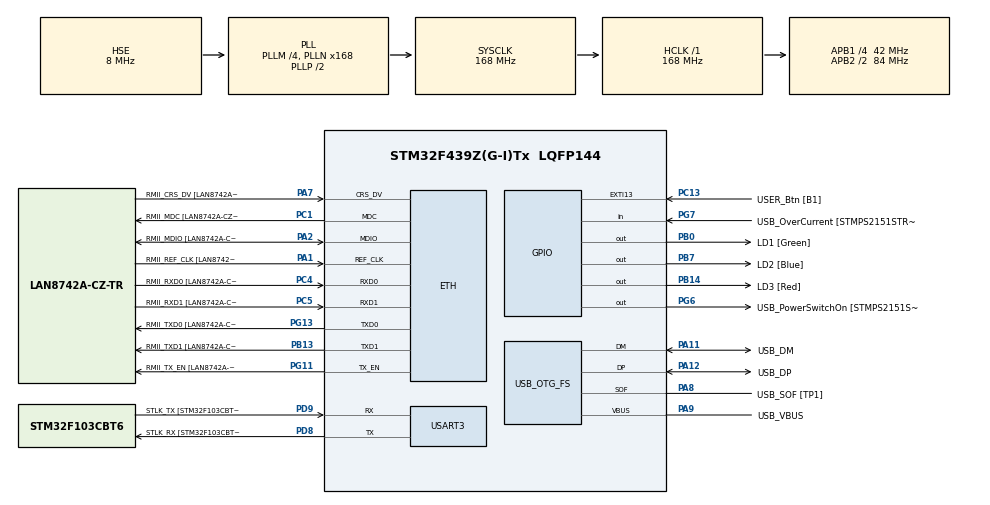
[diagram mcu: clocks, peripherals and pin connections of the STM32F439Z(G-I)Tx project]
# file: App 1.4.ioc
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ETH.MediaInterface=HAL_ETH_RMII_MODE
ETH.PHY_Name=LAN8742A_PHY_ADDRESS
ETH.PHY_Value=0
ETH.PhyAddress=0
Mcu.Family=STM32F4
Mcu.Name=STM32F439Z(G-I)Tx
Mcu.Package=LQFP144
NVIC.PriorityGroup=NVIC_PRIORITYGROUP_4
PA1.GPIO_Label=RMII_REF_CLK [LAN8742A-CZ-TR_REFCLK0]
PA1.Mode=RMII
PA1.Signal=ETH_REF_CLK
PA10.GPIO_Label=USB_ID
PA10.Signal=USB_OTG_FS_ID
PA11.GPIO_Label=USB_DM
PA11.Mode=Device_Only
PA11.Signal=USB_OTG_FS_DM
PA12.GPIO_Label=USB_DP
PA12.Mode=Device_Only
PA12.Signal=USB_OTG_FS_DP
PA13.GPIO_Label=TMS
PA13.Mode=Serial_Wire
PA13.Signal=SYS_JTMS-SWDIO
PA14.GPIO_Label=TCK
PA14.Mode=Serial_Wire
PA14.Signal=SYS_JTCK-SWCLK
PA2.GPIO_Label=RMII_MDIO [LAN8742A-CZ-TR_MDIO]
PA2.Mode=RMII
PA2.Signal=ETH_MDIO
PA7.GPIO_Label=RMII_CRS_DV [LAN8742A-CZ-TR_CRS_DV]
PA7.Mode=RMII
PA7.Signal=ETH_CRS_DV
PA8.GPIO_Label=USB_SOF [TP1]
PA8.Mode=Activate_SOF_FS
PA8.Signal=USB_OTG_FS_SOF
PA9.GPIO_Label=USB_VBUS
PA9.Mode=Activate_VBUS
PA9.Signal=USB_OTG_FS_VBUS
PB0.GPIO_Label=LD1 [Green]
PB0.Signal=GPIO_Output
PB13.GPIO_Label=RMII_TXD1 [LAN8742A-CZ-TR_TXD1]
PB13.Mode=RMII
PB13.Signal=ETH_TXD1
PB14.GPIO_Label=LD3 [Red]
PB14.Signal=GPIO_Output
PB7.GPIO_Label=LD2 [Blue]
PB7.Signal=GPIO_Output
PC1.GPIO_Label=RMII_MDC [LAN8742A-CZ-TR_MDC]
PC1.Mode=RMII
PC1.Signal=ETH_MDC
PC13.GPIO_Label=USER_Btn [B1]
PC13.Signal=GPXTI13
PC14/OSC32_IN.Mode=LSE-External-Oscillator
PC14/OSC32_IN.Signal=RCC_OSC32_IN
PC15/OSC32_OUT.Mode=LSE-External-Oscillator
PC15/OSC32_OUT.Signal=RCC_OSC32_OUT
PC4.GPIO_Label=RMII_RXD0 [LAN8742A-CZ-TR_RXD0]
PC4.Mode=RMII
PC4.Signal=ETH_RXD0
PC5.GPIO_Label=RMII_RXD1 [LAN8742A-CZ-TR_RXD1]
PC5.Mode=RMII
PC5.Signal=ETH_RXD1
PD8.GPIO_Label=STLK_RX [STM32F103CBT6_PA3]
PD8.Mode=Asynchronous
PD8.Signal=USART3_TX
PD9.GPIO_Label=STLK_TX [STM32F103CBT6_PA2]
PD9.Mode=Asynchronous
PD9.Signal=USART3_RX
PG11.GPIO_Label=RMII_TX_EN [LAN8742A-CZ-TR_TXEN]
PG11.Mode=RMII
PG11.Signal=ETH_TX_EN
PG13.GPIO_Label=RMII_TXD0 [LAN8742A-CZ-TR_TXD0]
PG13.Mode=RMII
PG13.Signal=ETH_TXD0
PG6.GPIO_Label=USB_PowerSwitchOn [STMPS2151STR_EN]
PG6.Signal=GPIO_Output
PG7.GPIO_Label=USB_OverCurrent [STMPS2151STR_FAULT]
PG7.Signal=GPIO_Input
PH0/OSC_IN.GPIO_Label=MCO [STM32F103CBT6_PA8]
PH0/OSC_IN.Mode=HSE-External-Clock-Source
PH0/OSC_IN.Signal=RCC_OSC_IN
PH1/OSC_OUT.Mode=HSE-External-Clock-Source
PH1/OSC_OUT.Signal=RCC_OSC_OUT
ProjectManager.HeapSize=0x200
ProjectManager.StackSize=0x400
ProjectManager.TargetToolchain=STM32CubeIDE
RCC.48MHZClocksFreq_Value=48000000
RCC.AHBFreq_Value=168000000
RCC.APB1CLKDivider=RCC_HCLK_DIV4
RCC.APB1Freq_Value=42000000
RCC.APB1TimFreq_Value=84000000
RCC.APB2CLKDivider=RCC_HCLK_DIV2
RCC.APB2Freq_Value=84000000
RCC.APB2TimCLKDivider=2
RCC.APB2TimFreq_Value=168000000
RCC.CortexFreq_Value=168000000
RCC.HCLKFreq_Value=168000000
RCC.HSE_VALUE=8000000
RCC.HSI_VALUE=16000000
RCC.PLLM=4
RCC.PLLMUL=RCC_PLL_MUL9
RCC.PLLN=168
RCC.PLLQ=7
RCC.PRESCALERUSB=RCC_USBCLKSOURCE_PLL_DIV1_5
RCC.SYSCLKFreq_VALUE=168000000
RCC.SYSCLKSource=RCC_SYSCLKSOURCE_PLLCLK
RCC.SYSCLKSourceVirtual=RCC_SYSCLKSOURCE_PLLCLK
RCC.USBFreq_Value=48000000
RCC.VCOOutputFreq_Value=336000000
USART3.VirtualMode=VM_ASYNC
USB_OTG_FS.VirtualMode=Device_Only
board=NUCLEO-F439ZI

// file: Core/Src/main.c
/* USER CODE BEGIN Header */
/**
  ******************************************************************************
  * @file           : main.c
  * @brief          : Main program body
  ******************************************************************************
  * @attention
  *
  * Copyright (c) 2026 STMicroelectronics.
  * All rights reserved.
  *
  * This software is licensed under terms that can be found in the LICENSE file
  * in the root directory of this software component.
  * If no LICENSE file comes with this software, it is provided AS-IS.
  *
  ******************************************************************************
  */
/* USER CODE END Header */
#include "main.h"
#include "string.h"

ETH_TxPacketConfig TxConfig;
ETH_DMADescTypeDef  DMARxDscrTab[ETH_RX_DESC_CNT]; /* Ethernet Rx DMA Descriptors */
ETH_DMADescTypeDef  DMATxDscrTab[ETH_TX_DESC_CNT]; /* Ethernet Tx DMA Descriptors */

ETH_HandleTypeDef heth;

UART_HandleTypeDef huart3;

PCD_HandleTypeDef hpcd_USB_OTG_FS;

/* USER CODE BEGIN PV */

int estado = 1;             // Guarda en qué modo de tiempo estamos (1, 2, 3 o 4)
int tiempo_parpadeo = 100;  // Tiempo actual en milisegundos (empieza en 100)

/* USER CODE END PV */

void SystemClock_Config(void);
static void MX_GPIO_Init(void);
static void MX_ETH_Init(void);
static void MX_USART3_UART_Init(void);
static void MX_USB_OTG_FS_PCD_Init(void);

int main(void)
{

  /* MCU Configuration--------------------------------------------------------*/

  /* Reset of all peripherals, Initializes the Flash interface and the Systick. */
  HAL_Init();

  /* Configure the system clock */
  SystemClock_Config();

  /* Initialize all configured peripherals */
  MX_GPIO_Init();
  MX_ETH_Init();
  MX_USART3_UART_Init();
  MX_USB_OTG_FS_PCD_Init();

  /* Infinite loop */
  /* USER CODE BEGIN WHILE */
  while (1)
  {
	      // 1. Revisamos si se presionó el botón onboard

	      if (HAL_GPIO_ReadPin(USER_Btn_GPIO_Port, USER_Btn_Pin) == GPIO_PIN_SET)
	      {
	        HAL_Delay(100); // espera para evitar el rebotador del botón

	        estado++;
	        if (estado > 4)
	        {
	          estado = 1; // Si pasa de 4, vuelve a empezar en 1
	        }

	        // Asignamos el tiempo según el estado en el que estamos
	        if (estado == 1)
	        {
	          tiempo_parpadeo = 100;
	        }
	        else if (estado == 2)
	        {
	          tiempo_parpadeo = 250;
	        }
	        else if (estado == 3)
	        {
	          tiempo_parpadeo = 500;
	        }
	        else if (estado == 4)
	        {
	          tiempo_parpadeo = 1000;
	        }

	        // Esperamos a que se suelte el boton
	        while (HAL_GPIO_ReadPin(USER_Btn_GPIO_Port, USER_Btn_Pin) == GPIO_PIN_SET)
	        {

	        }
	        HAL_Delay(50); // Pausa para estabilizar
	      }

	      // Encender los 3 leds
	      HAL_GPIO_WritePin(GPIOB, LD1_Pin, GPIO_PIN_SET);
	      HAL_GPIO_WritePin(GPIOB, LD2_Pin, GPIO_PIN_SET);
	      HAL_GPIO_WritePin(GPIOB, LD3_Pin, GPIO_PIN_SET);

	      HAL_Delay(tiempo_parpadeo);

	      // Apagar los 3 leds
	      HAL_GPIO_WritePin(GPIOB, LD1_Pin, GPIO_PIN_RESET);
	      HAL_GPIO_WritePin(GPIOB, LD2_Pin, GPIO_PIN_RESET);
	      HAL_GPIO_WritePin(GPIOB, LD3_Pin, GPIO_PIN_RESET);

	      HAL_Delay(tiempo_parpadeo);

    /* USER CODE END WHILE */

  }
}

void SystemClock_Config(void)
{
  RCC_OscInitTypeDef RCC_OscInitStruct = {0};
  RCC_ClkInitTypeDef RCC_ClkInitStruct = {0};

  /** Configure the main internal regulator output voltage
  */
  __HAL_RCC_PWR_CLK_ENABLE();
  __HAL_PWR_VOLTAGESCALING_CONFIG(PWR_REGULATOR_VOLTAGE_SCALE1);

  /** Initializes the RCC Oscillators according to the specified parameters
  * in the RCC_OscInitTypeDef structure.
  */
  RCC_OscInitStruct.OscillatorType = RCC_OSCILLATORTYPE_HSE;
  RCC_OscInitStruct.HSEState = RCC_HSE_BYPASS;
  RCC_OscInitStruct.PLL.PLLState = RCC_PLL_ON;
  RCC_OscInitStruct.PLL.PLLSource = RCC_PLLSOURCE_HSE;
  RCC_OscInitStruct.PLL.PLLM = 4;
  RCC_OscInitStruct.PLL.PLLN = 168;
  RCC_OscInitStruct.PLL.PLLP = RCC_PLLP_DIV2;
  RCC_OscInitStruct.PLL.PLLQ = 7;
  if (HAL_RCC_OscConfig(&RCC_OscInitStruct) != HAL_OK)
  {
    Error_Handler();
  }

  /** Initializes the CPU, AHB and APB buses clocks
  */
  RCC_ClkInitStruct.ClockType = RCC_CLOCKTYPE_HCLK|RCC_CLOCKTYPE_SYSCLK
                              |RCC_CLOCKTYPE_PCLK1|RCC_CLOCKTYPE_PCLK2;
  RCC_ClkInitStruct.SYSCLKSource = RCC_SYSCLKSOURCE_PLLCLK;
  RCC_ClkInitStruct.AHBCLKDivider = RCC_SYSCLK_DIV1;
  RCC_ClkInitStruct.APB1CLKDivider = RCC_HCLK_DIV4;
  RCC_ClkInitStruct.APB2CLKDivider = RCC_HCLK_DIV2;

  if (HAL_RCC_ClockConfig(&RCC_ClkInitStruct, FLASH_LATENCY_5) != HAL_OK)
  {
    Error_Handler();
  }
}

static void MX_ETH_Init(void)
{

   static uint8_t MACAddr[6];

  heth.Instance = ETH;
  MACAddr[0] = 0x00;
  MACAddr[1] = 0x80;
  MACAddr[2] = 0xE1;
  MACAddr[3] = 0x00;
  MACAddr[4] = 0x00;
  MACAddr[5] = 0x00;
  heth.Init.MACAddr = &MACAddr[0];
  heth.Init.MediaInterface = HAL_ETH_RMII_MODE;
  heth.Init.TxDesc = DMATxDscrTab;
  heth.Init.RxDesc = DMARxDscrTab;
  heth.Init.RxBuffLen = 1524;

  if (HAL_ETH_Init(&heth) != HAL_OK)
  {
    Error_Handler();
  }

  memset(&TxConfig, 0 , sizeof(ETH_TxPacketConfig));
  TxConfig.Attributes = ETH_TX_PACKETS_FEATURES_CSUM | ETH_TX_PACKETS_FEATURES_CRCPAD;
  TxConfig.ChecksumCtrl = ETH_CHECKSUM_IPHDR_PAYLOAD_INSERT_PHDR_CALC;
  TxConfig.CRCPadCtrl = ETH_CRC_PAD_INSERT;

}

static void MX_USART3_UART_Init(void)
{

  huart3.Instance = USART3;
  huart3.Init.BaudRate = 115200;
  huart3.Init.WordLength = UART_WORDLENGTH_8B;
  huart3.Init.StopBits = UART_STOPBITS_1;
  huart3.Init.Parity = UART_PARITY_NONE;
  huart3.Init.Mode = UART_MODE_TX_RX;
  huart3.Init.HwFlowCtl = UART_HWCONTROL_NONE;
  huart3.Init.OverSampling = UART_OVERSAMPLING_16;
  if (HAL_UART_Init(&huart3) != HAL_OK)
  {
    Error_Handler();
  }

}

static void MX_USB_OTG_FS_PCD_Init(void)
{

  hpcd_USB_OTG_FS.Instance = USB_OTG_FS;
  hpcd_USB_OTG_FS.Init.dev_endpoints = 4;
  hpcd_USB_OTG_FS.Init.speed = PCD_SPEED_FULL;
  hpcd_USB_OTG_FS.Init.dma_enable = DISABLE;
  hpcd_USB_OTG_FS.Init.phy_itface = PCD_PHY_EMBEDDED;
  hpcd_USB_OTG_FS.Init.Sof_enable = ENABLE;
  hpcd_USB_OTG_FS.Init.low_power_enable = DISABLE;
  hpcd_USB_OTG_FS.Init.lpm_enable = DISABLE;
  hpcd_USB_OTG_FS.Init.vbus_sensing_enable = ENABLE;
  hpcd_USB_OTG_FS.Init.use_dedicated_ep1 = DISABLE;
  if (HAL_PCD_Init(&hpcd_USB_OTG_FS) != HAL_OK)
  {
    Error_Handler();
  }

}

static void MX_GPIO_Init(void)
{
  GPIO_InitTypeDef GPIO_InitStruct = {0};

  /* GPIO Ports Clock Enable */
  __HAL_RCC_GPIOC_CLK_ENABLE();
  __HAL_RCC_GPIOH_CLK_ENABLE();
  __HAL_RCC_GPIOA_CLK_ENABLE();
  __HAL_RCC_GPIOB_CLK_ENABLE();
  __HAL_RCC_GPIOD_CLK_ENABLE();
  __HAL_RCC_GPIOG_CLK_ENABLE();

  /*Configure GPIO pin Output Level */
  HAL_GPIO_WritePin(GPIOB, LD1_Pin|LD3_Pin|LD2_Pin, GPIO_PIN_RESET);

  /*Configure GPIO pin Output Level */
  HAL_GPIO_WritePin(USB_PowerSwitchOn_GPIO_Port, USB_PowerSwitchOn_Pin, GPIO_PIN_RESET);

  /*Configure GPIO pin : USER_Btn_Pin */
  GPIO_InitStruct.Pin = USER_Btn_Pin;
  GPIO_InitStruct.Mode = GPIO_MODE_IT_RISING;
  GPIO_InitStruct.Pull = GPIO_NOPULL;
  HAL_GPIO_Init(USER_Btn_GPIO_Port, &GPIO_InitStruct);

  /*Configure GPIO pins : LD1_Pin LD3_Pin LD2_Pin */
  GPIO_InitStruct.Pin = LD1_Pin|LD3_Pin|LD2_Pin;
  GPIO_InitStruct.Mode = GPIO_MODE_OUTPUT_PP;
  GPIO_InitStruct.Pull = GPIO_NOPULL;
  GPIO_InitStruct.Speed = GPIO_SPEED_FREQ_LOW;
  HAL_GPIO_Init(GPIOB, &GPIO_InitStruct);

  /*Configure GPIO pin : USB_PowerSwitchOn_Pin */
  GPIO_InitStruct.Pin = USB_PowerSwitchOn_Pin;
  GPIO_InitStruct.Mode = GPIO_MODE_OUTPUT_PP;
  GPIO_InitStruct.Pull = GPIO_NOPULL;
  GPIO_InitStruct.Speed = GPIO_SPEED_FREQ_LOW;
  HAL_GPIO_Init(USB_PowerSwitchOn_GPIO_Port, &GPIO_InitStruct);

  /*Configure GPIO pin : USB_OverCurrent_Pin */
  GPIO_InitStruct.Pin = USB_OverCurrent_Pin;
  GPIO_InitStruct.Mode = GPIO_MODE_INPUT;
  GPIO_InitStruct.Pull = GPIO_NOPULL;
  HAL_GPIO_Init(USB_OverCurrent_GPIO_Port, &GPIO_InitStruct);

}

void Error_Handler(void)
{
  __disable_irq();
  while (1)
  {
  }
}
